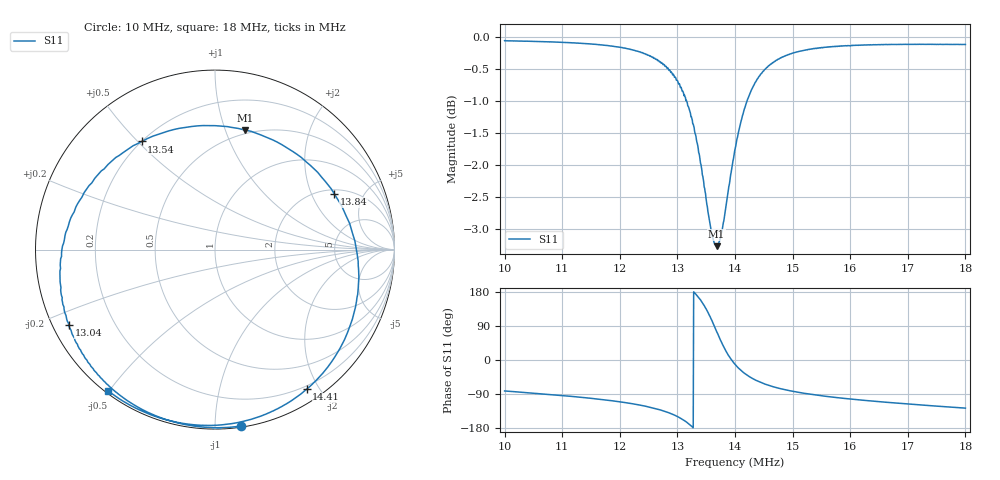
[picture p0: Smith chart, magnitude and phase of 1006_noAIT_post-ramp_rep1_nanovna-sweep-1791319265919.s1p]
! NanoVNA Web complex sweep
! Processing: unaveraged complex samples; linear segment spacing; no smoothing
# Hz S RI R 50
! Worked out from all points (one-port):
!   1010 points, 10 MHz to 18 MHz, reference 50 ohm
!   lowest |S11| = -3.3 dB at 13.68 MHz (marker M1), VSWR 5.38, Z = 23.2 + j58.4 ohm
!   |S11| at or under -10 dB: nowhere
!   S11 on the Smith chart (normalised r, x): 10 MHz: 0.01, -1.16; 13.04 MHz: 0.05, -0.24; 13.54 MHz: 0.20, +0.51; 13.84 MHz: 2.22, +2.98; 14.41 MHz: 0.16, -1.84; 18 MHz: 0.01, -0.50
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1e7  0.143 -0.9838
1.100698e7  -0.0668 -0.9889
1.200604e7  -0.3433 -0.9202
1.235491e7  -0.4745 -0.8508
1.260864e7  -0.5893 -0.7617
1.283065e7  -0.7039 -0.6324
1.300509e7  -0.7969 -0.4683
1.304474e7  -0.8144 -0.4199
1.321124e7  -0.8643 -0.1501
1.333018e7  -0.8242 0.1116
1.343326e7  -0.6865 0.3713
1.353633e7  -0.4082 0.6024
1.36077e7  -0.1303 0.6858
1.367906e7  0.1657 0.666
1.375835e7  0.4562 0.5313
1.383764e7  0.6652 0.3099
1.391693e7  0.7729 0.0689
1.400414e7  0.8005 -0.1718
1.409136e7  0.7688 -0.3737
1.418651e7  0.7018 -0.5405
1.428959e7  0.6133 -0.6728
1.440852e7  0.5107 -0.7782
1.465432e7  0.3233 -0.8993
1.50032e7  0.1246 -0.964
1.544722e7  -0.057 -0.9793
1.600225e7  -0.2203 -0.9599
1.700131e7  -0.4344 -0.887
1.800036e7  -0.5941 -0.7887
